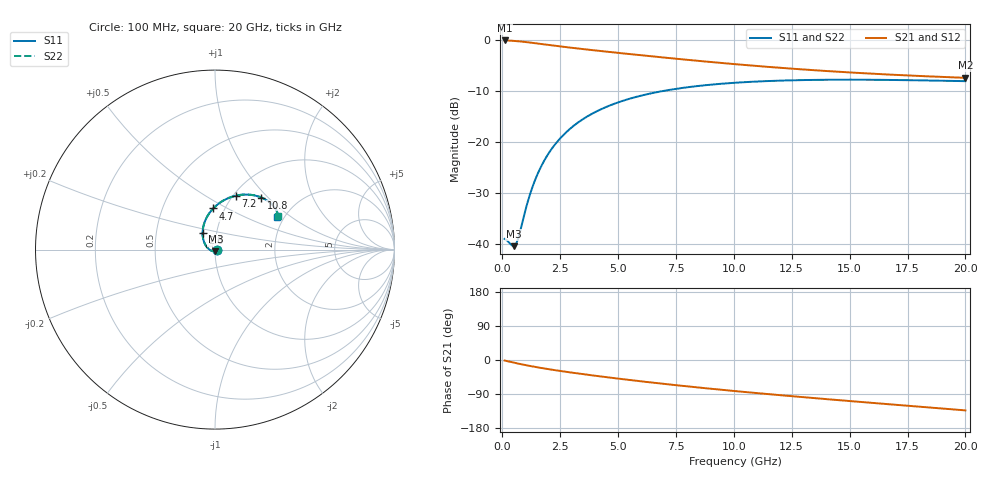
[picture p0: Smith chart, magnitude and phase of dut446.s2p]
! Touchstone file exported from HFSS 2024.1.0
!  File:  C:/UserFiles/LocalFiles/RDL_TSV_Batchsim/temp_RDL_TSV_446_1779723928.aedt
!  Generated:  12:03:05 AM May 26, 2026
!  Design:  RDL_TSV
!  Project:  temp_RDL_TSV_446_1779723928
!  Setup:  Setup1
!  Solution:  Sweep
! Variables:
!  dtsv = 12.34um
!  hbump = 3um
!  htsv = 79.59um
!  ldown = 120.65um
!  lrdl = 281.86um
!  p = 40
!  p1 = 59.98um
!  rhole = 10um
!  subl = 1489.39um
!  t = 450um
!  tdown = 4.07um
!  trdl = 3.93um
!  viad = 10um
!  wdown = 21.86um
!  wrdl = 10.92um
!  xbump = 18um
# GHz S MA R 50.000000
! Terminal data exported
! Port[1] = TM1_1_T1
! Port[2] = TM1_4_T1
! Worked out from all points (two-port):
!   200 points, 100 MHz to 20 GHz, reference 50 ohm
!   highest |S21| = -0.10 dB at 100 MHz (marker M1); lowest = -7.4 dB at 20 GHz (marker M2)
!   |S21| within 3 dB of the highest: start of sweep to 6.198 GHz
!   lowest |S11| = -40.5 dB at 500 MHz (marker M3), VSWR 1.02, Z = 50.2 - j0.916 ohm
!   |S11| at or under -10 dB: start of sweep to 6.982 GHz
!   |S22| runs from -40.5 to -7.8 dB; largest |S21 - S12| = 1.5e-12
!   S11 on the Smith chart (normalised r, x): 100 MHz: 1.02, -0.00; 2.6 GHz: 0.86, +0.16; 4.7 GHz: 0.88, +0.43; 7.2 GHz: 1.03, +0.69; 10.8 GHz: 1.34, +0.91; 20 GHz: 1.84, +0.80
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0.1  0.01111 -11.1  0.9883 -1.4  0.9883 -1.4  0.01111 -11.1
! Gamma 0 0 0 0
! Port Impedance 50 0 50 0
0.5  0.009416 -75.5  0.9786 -7.0  0.9786 -7.0  0.009408 -75.5
0.6  0.009936 -98.3  0.9746 -8.3  0.9746 -8.3  0.00993 -98.4
0.7  0.01146 -120.0  0.9701 -9.6  0.9701 -9.6  0.01147 -120.1
1.1  0.02574 -172.3  0.9486 -14.6  0.9486 -14.6  0.02578 -172.4
1.3  0.03574 173.8  0.9365 -16.9  0.9365 -16.9  0.0358 173.7
1.5  0.04677 163.2  0.924 -19.1  0.924 -19.1  0.04685 163.1
1.7  0.05848 154.5  0.9115 -21.2  0.9115 -21.2  0.05858 154.4
2  0.07679 143.8  0.893 -24.2  0.893 -24.2  0.07692 143.8
2.3  0.09546 134.9  0.8753 -27.1  0.8753 -27.1  0.09563 134.9
2.6  0.1141 127.3  0.8583 -29.8  0.8583 -29.8  0.1143 127.3
3  0.1385 118.7  0.8371 -33.3  0.8371 -33.3  0.1387 118.6
3.5  0.1676 109.5  0.8123 -37.4  0.8123 -37.4  0.1679 109.5
4.7  0.2297 92.4  0.7588 -46.8  0.7588 -46.8  0.2301 92.4
5.7  0.2725 81.5  0.7185 -54.2  0.7185 -54.2  0.273 81.5
6.8  0.3107 71.8  0.6778 -61.8  0.6778 -61.8  0.3113 71.8
7.2  0.3225 68.7  0.6639 -64.5  0.6639 -64.5  0.3231 68.7
10.1  0.3803 51.4  0.5768 -82.3  0.5768 -82.3  0.381 51.5
10.8  0.3884 48.3  0.5593 -86.3  0.5593 -86.3  0.3891 48.3
13.4  0.4048 39.0  0.5053 -100.2  0.5053 -100.2  0.4056 39.0
16.7  0.4047 31.5  0.457 -116.8  0.457 -116.8  0.4056 31.5
20  0.3936 27.8  0.4245 -132.9  0.4245 -132.9  0.3945 27.9
